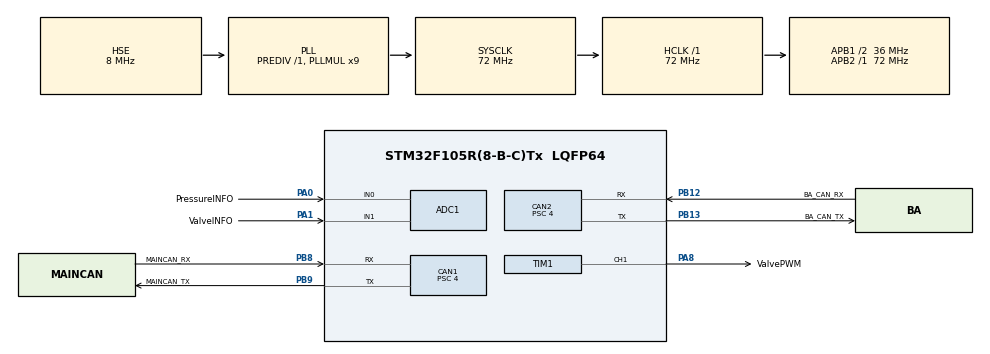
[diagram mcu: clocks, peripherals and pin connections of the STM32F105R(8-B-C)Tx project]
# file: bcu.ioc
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ADC1.Channel-0\#ChannelRegularConversion=ADC_CHANNEL_VREFINT
ADC1.Channel-1\#ChannelRegularConversion=ADC_CHANNEL_0
ADC1.Channel-2\#ChannelRegularConversion=ADC_CHANNEL_1
ADC1.ContinuousConvMode=ENABLE
ADC1.NbrOfConversion=3
ADC1.NbrOfConversionFlag=1
ADC1.Rank-0\#ChannelRegularConversion=1
ADC1.Rank-1\#ChannelRegularConversion=2
ADC1.Rank-2\#ChannelRegularConversion=3
ADC1.SamplingTime-0\#ChannelRegularConversion=ADC_SAMPLETIME_28CYCLES_5
ADC1.SamplingTime-1\#ChannelRegularConversion=ADC_SAMPLETIME_28CYCLES_5
ADC1.SamplingTime-2\#ChannelRegularConversion=ADC_SAMPLETIME_28CYCLES_5
ADC1.master=1
CAN1.ABOM=ENABLE
CAN1.AWUM=ENABLE
CAN1.BS1=CAN_BS1_15TQ
CAN1.BS2=CAN_BS2_2TQ
CAN1.CalculateBaudRate=500000
CAN1.CalculateTimeBit=1999.99
CAN1.CalculateTimeQuantum=111.11111111111111
CAN1.NART=DISABLE
CAN1.Prescaler=4
CAN2.ABOM=ENABLE
CAN2.AWUM=ENABLE
CAN2.BS1=CAN_BS1_15TQ
CAN2.BS2=CAN_BS2_2TQ
CAN2.CalculateBaudRate=500000
CAN2.CalculateTimeBit=1999.99
CAN2.CalculateTimeQuantum=111.11111111111111
CAN2.NART=DISABLE
CAN2.Prescaler=4
Dma.ADC1.0.Direction=DMA_PERIPH_TO_MEMORY
Dma.ADC1.0.Instance=DMA1_Channel1
Dma.ADC1.0.MemDataAlignment=DMA_MDATAALIGN_WORD
Dma.ADC1.0.MemInc=DMA_MINC_ENABLE
Dma.ADC1.0.Mode=DMA_CIRCULAR
Dma.ADC1.0.PeriphDataAlignment=DMA_PDATAALIGN_WORD
Dma.ADC1.0.PeriphInc=DMA_PINC_DISABLE
Dma.ADC1.0.Priority=DMA_PRIORITY_LOW
Dma.Request0=ADC1
Dma.Request1=TIM1_CH1
Dma.TIM1_CH1.1.Direction=DMA_PERIPH_TO_MEMORY
Dma.TIM1_CH1.1.Instance=DMA1_Channel2
Dma.TIM1_CH1.1.MemDataAlignment=DMA_MDATAALIGN_HALFWORD
Dma.TIM1_CH1.1.MemInc=DMA_MINC_ENABLE
Dma.TIM1_CH1.1.Mode=DMA_CIRCULAR
Dma.TIM1_CH1.1.PeriphDataAlignment=DMA_PDATAALIGN_HALFWORD
Dma.TIM1_CH1.1.PeriphInc=DMA_PINC_DISABLE
Dma.TIM1_CH1.1.Priority=DMA_PRIORITY_LOW
Mcu.Family=STM32F1
Mcu.Name=STM32F105R(8-B-C)Tx
Mcu.Package=LQFP64
NVIC.CAN1_RX0_IRQn=true\:0\:0\:false\:false\:true\:true\:true
NVIC.CAN1_TX_IRQn=true\:0\:0\:false\:false\:true\:true\:true
NVIC.CAN2_RX0_IRQn=true\:0\:0\:false\:false\:true\:true\:true
NVIC.CAN2_TX_IRQn=true\:0\:0\:false\:false\:true\:true\:true
NVIC.DMA1_Channel1_IRQn=true\:0\:0\:false\:false\:true\:false\:true
NVIC.DMA1_Channel2_IRQn=true\:0\:0\:false\:false\:true\:false\:true
NVIC.PriorityGroup=NVIC_PRIORITYGROUP_4
NVIC.TIM1_UP_IRQn=true\:0\:0\:false\:false\:true\:true\:true
NVIC.TIM2_IRQn=true\:0\:0\:false\:false\:true\:true\:true
PA0-WKUP.GPIO_Label=PressureINFO
PA0-WKUP.Signal=ADCx_IN0
PA1.GPIO_Label=ValveINFO
PA1.Signal=ADCx_IN1
PA13.Mode=Serial_Wire
PA13.Signal=SYS_JTMS-SWDIO
PA14.Mode=Serial_Wire
PA14.Signal=SYS_JTCK-SWCLK
PA8.GPIO_Label=ValvePWM
PA8.GPIO_Speed=GPIO_SPEED_FREQ_HIGH
PA8.Signal=S_TIM1_CH1
PB12.GPIO_Label=BA_CAN_RX
PB12.Mode=CAN_Activate
PB12.Signal=CAN2_RX
PB13.GPIO_Label=BA_CAN_TX
PB13.Mode=CAN_Activate
PB13.Signal=CAN2_TX
PB8.GPIO_Label=MAINCAN_RX
PB8.Mode=CAN_Activate
PB8.Signal=CAN1_RX
PB9.GPIO_Label=MAINCAN_TX
PB9.Mode=CAN_Activate
PB9.Signal=CAN1_TX
PD0-OSC_IN.Mode=HSE-External-Oscillator
PD0-OSC_IN.Signal=RCC_OSC_IN
PD1-OSC_OUT.Mode=HSE-External-Oscillator
PD1-OSC_OUT.Signal=RCC_OSC_OUT
ProjectManager.HeapSize=0x200
ProjectManager.StackSize=0x400
ProjectManager.TargetToolchain=MDK-ARM V5
RCC.ADCPresc=RCC_ADCPCLK2_DIV6
RCC.AHBFreq_Value=72000000
RCC.APB1CLKDivider=RCC_HCLK_DIV2
RCC.APB1Freq_Value=36000000
RCC.APB1TimFreq_Value=72000000
RCC.APB2Freq_Value=72000000
RCC.APB2TimFreq_Value=72000000
RCC.HCLKFreq_Value=72000000
RCC.PLLMUL=RCC_PLL_MUL9
RCC.PLLSourceVirtual=RCC_PLLSOURCE_HSE
RCC.SYSCLKFreq_VALUE=72000000
RCC.SYSCLKSource=RCC_SYSCLKSOURCE_PLLCLK
RCC.USBFreq_Value=48000000
SH.ADCx_IN0.0=ADC1_IN0,IN0
SH.ADCx_IN1.0=ADC1_IN1,IN1
SH.S_TIM1_CH1.0=TIM1_CH1,PWM Generation1 CH1
TIM1.Channel-PWM\ Generation1\ CH1=TIM_CHANNEL_1
TIM1.Period=1000
TIM1.Prescaler=100
TIM2.Period=9000
TIM2.Prescaler=79
VP_ADC1_Vref_Input.Mode=IN-Vrefint
VP_TIM1_VS_ClockSourceINT.Mode=Internal
VP_TIM2_VS_ClockSourceINT.Mode=Internal
board=custom

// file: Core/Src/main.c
/* USER CODE BEGIN Header */
/**
  ******************************************************************************
  * @file           : main.c
  * @brief          : Main program body
  ******************************************************************************
  * @attention
  *
  * <h2><center>&copy; Copyright (c) 2022 STMicroelectronics.
  * All rights reserved.</center></h2>
  *
  * This software component is licensed by ST under BSD 3-Clause license,
  * the "License"; You may not use this file except in compliance with the
  * License. You may obtain a copy of the License at:
  *                        opensource.org/licenses/BSD-3-Clause
  *
  ******************************************************************************
  */
/* USER CODE END Header */
#include "main.h"

/* USER CODE BEGIN Includes */
#include "pressures.h"
#include "math.h"
/* USER CODE END Includes */

ADC_HandleTypeDef hadc1;
DMA_HandleTypeDef hdma_adc1;

CAN_HandleTypeDef hcan1;
CAN_HandleTypeDef hcan2;

TIM_HandleTypeDef htim1;
TIM_HandleTypeDef htim2;
DMA_HandleTypeDef hdma_tim1_ch1;

/* USER CODE BEGIN PV */
uint32_t ADC[MEASURING_NUMBER_ALL_CHANNELS]={0};//buffer for reading battery voltage

float mcuVoltage = 3.3; // STM32 power supply voltage
float PressureINFO_Volts = 0; // Signal from Pressure sensor in Volts (0-5V)
float PressureINFO_Bars = 0; // Actual pressure in braking system

uint16_t ValveDutyCycle[1] = {0,}; // PWM duty cycle for Valve setpoint value
float SetPoint = 0; // Setpoint value for Valve in Bars (0-6 Bar)
float SetPoint_Volts = 0; // Setpoint value for Valve in Volts (0-10 Volts)

float NeededBrakePressure = 0.5; // Needed pressure in braking system
float ActualPoint = 0; // Actual value in Valve in Volts (0-5V)
float ActualPoint_Bars = 0;// Actual value in Valve in Bars (0-6 Bar)
uint8_t Counter_for_PID = 0;

uint16_t u16PressureINFO_BarsBuf = 0; // Actual pressure in braking system U32 (BCU sends this value by CAN)
uint16_t NeededBrakePressureBuf = 0; 	// Needed pressure in braking system received by CAN
//float PressureINFO_BarsDebug = 0; 	// Actual pressure in braking system for Debug
/*********FSG_TEST*************/ // Comment it in final project
uint16_t Pressurescounter = 0;
uint8_t Circle = 0;

/*****************CAN******************/

CAN_TxHeaderTypeDef pTxHeaderBreakPressure;
CAN_TxHeaderTypeDef pTxHeaderError;
CAN_RxHeaderTypeDef pRxHeaderBreakPressure;
uint32_t TxMailbox;
uint32_t TxMailboxError;
uint8_t i = 0;
uint8_t recieve = 0;
uint8_t xBreakPressureTX_data[2], xBreakPressureRX_data[2]; //Buffers for BA_CAN for pressure setting
uint8_t xPressureStatus[1] = {0};
CAN_FilterTypeDef sFilterConfig;

/**************************************/

/*****************PID******************/
float Kp_PID = 0.06; // Proportional coefficient for PID
float Ki_PID = 0.05; // Integral coefficient for PID
float Kd_PID = 0.005; // Differencial coefficient for PID
float errorPrevious_PID = 0;
float errorCurrent_PID = 0;
float errorIntegral_PID = 0;
float errorDifferential_PID = 0;
// PID Calibration

struct PID_calib PressureINFO_Bars_PID_calib = {0,};

/**************************************/

/* USER CODE END PV */

void SystemClock_Config(void);
static void MX_GPIO_Init(void);
static void MX_DMA_Init(void);
static void MX_ADC1_Init(void);
static void MX_TIM1_Init(void);
static void MX_CAN1_Init(void);
static void MX_CAN2_Init(void);
static void MX_TIM2_Init(void);

int main(void)
{
  /* USER CODE BEGIN 1 */
//	uint16_t i = 0;
//  TX_data[0] = 124;
//	PressureINFO_BarsDebug = 10.5;
	uint32_t u32LastTick = 0U;
	uint32_t u32CurrentTick = 0U;
  /* USER CODE END 1 */

  /* MCU Configuration--------------------------------------------------------*/

  /* Reset of all peripherals, Initializes the Flash interface and the Systick. */
  HAL_Init();

  /* Configure the system clock */
  SystemClock_Config();

  /* Initialize all configured peripherals */
  MX_GPIO_Init();
  MX_DMA_Init();
  MX_ADC1_Init();
  MX_TIM1_Init();
  MX_CAN1_Init();
  MX_CAN2_Init();
  MX_TIM2_Init();
  /* USER CODE BEGIN 2 */
	HAL_ADCEx_Calibration_Start(&hadc1);
	HAL_ADC_Start_DMA ( &hadc1,  (uint32_t*)ADC, MEASURING_NUMBER_ALL_CHANNELS);
	HAL_TIM_PWM_Start_DMA(&htim1, TIM_CHANNEL_1, (uint32_t*)ValveDutyCycle, 1);
	HAL_TIM_Base_Start_IT(&htim1);
	HAL_TIM_Base_Start_IT(&htim2);
	u32LastTick = HAL_GetTick();
	u32CurrentTick = u32LastTick;
  /* USER CODE END 2 */

  /* Infinite loop */
   while (1)
  {

    /* USER CODE BEGIN 3 */

		NeededBrakePressureBuf = 0;
		for (i=0;	i<2; i++) // 2 - since BCU receives 2 bytes
		{
			NeededBrakePressureBuf|= (uint32_t) (xBreakPressureRX_data[i]<<(8*(2-1-i)));
		}
		/*If value is ok*/
		if (isnan(NeededBrakePressureBuf) != 1)
		{
			/*set this value in break system*/
			NeededBrakePressure = (float)NeededBrakePressureBuf/floatBREAK_PRESSURE_DIVIDER;
		}
		u32CurrentTick = HAL_GetTick();
		if ( ( u32CurrentTick - u32LastTick ) > u32MAX_TICKS_ERROR )
		{
			u32LastTick = HAL_GetTick();
			if ( ( ( fabs(NeededBrakePressure - PressureINFO_Bars) > floatBREAK_PRESSURE_DISCREPANCY	) &&
					 ( ( xPressureStatus[0] & BREAK_ERROR ) != 0 ) ) ||
					 ( ( fabs(SetPoint - ActualPoint_Bars) > floatVALVE_PRESSURE_DISCREPANCY	) &&
					 ( ( xPressureStatus[0] & VALVE_ERROR ) != 0 ) )
				 )
			{
				HAL_CAN_AddTxMessage(&hcan1, &pTxHeaderError, xPressureStatus, &TxMailboxError);
				if ( ( xPressureStatus[0]  & BREAK_ERROR ) != 0 )
				{
					xPressureStatus[0] &= ~BREAK_ERROR;
				}
				if ( ( xPressureStatus[0]  & VALVE_ERROR ) != 0 )
				{
					xPressureStatus[0] &= ~VALVE_ERROR;
				}
			}
			if ( (fabs(NeededBrakePressure - PressureINFO_Bars) > floatBREAK_PRESSURE_DISCREPANCY) &&
					 ( ( xPressureStatus[0] & BREAK_ERROR ) == 0 )
				 )
			{
				xPressureStatus[0] |= BREAK_ERROR;
			}
			else if ( fabs(NeededBrakePressure - PressureINFO_Bars) < floatBREAK_PRESSURE_DISCREPANCY )
			{
				xPressureStatus[0] &= ~BREAK_ERROR;
			}

			if ( (fabs(SetPoint - ActualPoint_Bars) > floatVALVE_PRESSURE_DISCREPANCY) &&
					 ( ( xPressureStatus[0] & VALVE_ERROR ) == 0 )
				 )
			{
				xPressureStatus[0] |= VALVE_ERROR;
			}
			else if ( fabs(SetPoint - ActualPoint_Bars) < floatVALVE_PRESSURE_DISCREPANCY )
			{
				xPressureStatus[0] &= ~VALVE_ERROR;
			}
		}

  }
  /* USER CODE END 3 */
}

void SystemClock_Config(void)
{
  RCC_OscInitTypeDef RCC_OscInitStruct = {0};
  RCC_ClkInitTypeDef RCC_ClkInitStruct = {0};
  RCC_PeriphCLKInitTypeDef PeriphClkInit = {0};

  /** Initializes the RCC Oscillators according to the specified parameters
  * in the RCC_OscInitTypeDef structure.
  */
  RCC_OscInitStruct.OscillatorType = RCC_OSCILLATORTYPE_HSE;
  RCC_OscInitStruct.HSEState = RCC_HSE_ON;
  RCC_OscInitStruct.HSEPredivValue = RCC_HSE_PREDIV_DIV1;
  RCC_OscInitStruct.HSIState = RCC_HSI_ON;
  RCC_OscInitStruct.Prediv1Source = RCC_PREDIV1_SOURCE_HSE;
  RCC_OscInitStruct.PLL.PLLState = RCC_PLL_ON;
  RCC_OscInitStruct.PLL.PLLSource = RCC_PLLSOURCE_HSE;
  RCC_OscInitStruct.PLL.PLLMUL = RCC_PLL_MUL9;
  RCC_OscInitStruct.PLL2.PLL2State = RCC_PLL_NONE;
  if (HAL_RCC_OscConfig(&RCC_OscInitStruct) != HAL_OK)
  {
    Error_Handler();
  }
  /** Initializes the CPU, AHB and APB buses clocks
  */
  RCC_ClkInitStruct.ClockType = RCC_CLOCKTYPE_HCLK|RCC_CLOCKTYPE_SYSCLK
                              |RCC_CLOCKTYPE_PCLK1|RCC_CLOCKTYPE_PCLK2;
  RCC_ClkInitStruct.SYSCLKSource = RCC_SYSCLKSOURCE_PLLCLK;
  RCC_ClkInitStruct.AHBCLKDivider = RCC_SYSCLK_DIV1;
  RCC_ClkInitStruct.APB1CLKDivider = RCC_HCLK_DIV2;
  RCC_ClkInitStruct.APB2CLKDivider = RCC_HCLK_DIV1;

  if (HAL_RCC_ClockConfig(&RCC_ClkInitStruct, FLASH_LATENCY_2) != HAL_OK)
  {
    Error_Handler();
  }
  PeriphClkInit.PeriphClockSelection = RCC_PERIPHCLK_ADC;
  PeriphClkInit.AdcClockSelection = RCC_ADCPCLK2_DIV6;
  if (HAL_RCCEx_PeriphCLKConfig(&PeriphClkInit) != HAL_OK)
  {
    Error_Handler();
  }
  /** Configure the Systick interrupt time
  */
  __HAL_RCC_PLLI2S_ENABLE();
}

static void MX_ADC1_Init(void)
{

  ADC_ChannelConfTypeDef sConfig = {0};

  /** Common config
  */
  hadc1.Instance = ADC1;
  hadc1.Init.ScanConvMode = ADC_SCAN_ENABLE;
  hadc1.Init.ContinuousConvMode = ENABLE;
  hadc1.Init.DiscontinuousConvMode = DISABLE;
  hadc1.Init.ExternalTrigConv = ADC_SOFTWARE_START;
  hadc1.Init.DataAlign = ADC_DATAALIGN_RIGHT;
  hadc1.Init.NbrOfConversion = 3;
  if (HAL_ADC_Init(&hadc1) != HAL_OK)
  {
    Error_Handler();
  }
  /** Configure Regular Channel
  */
  sConfig.Channel = ADC_CHANNEL_VREFINT;
  sConfig.Rank = ADC_REGULAR_RANK_1;
  sConfig.SamplingTime = ADC_SAMPLETIME_28CYCLES_5;
  if (HAL_ADC_ConfigChannel(&hadc1, &sConfig) != HAL_OK)
  {
    Error_Handler();
  }
  /** Configure Regular Channel
  */
  sConfig.Channel = ADC_CHANNEL_0;
  sConfig.Rank = ADC_REGULAR_RANK_2;
  if (HAL_ADC_ConfigChannel(&hadc1, &sConfig) != HAL_OK)
  {
    Error_Handler();
  }
  /** Configure Regular Channel
  */
  sConfig.Channel = ADC_CHANNEL_1;
  sConfig.Rank = ADC_REGULAR_RANK_3;
  if (HAL_ADC_ConfigChannel(&hadc1, &sConfig) != HAL_OK)
  {
    Error_Handler();
  }

}

static void MX_CAN1_Init(void)
{

  hcan1.Instance = CAN1;
  hcan1.Init.Prescaler = 4;
  hcan1.Init.Mode = CAN_MODE_NORMAL;
  hcan1.Init.SyncJumpWidth = CAN_SJW_1TQ;
  hcan1.Init.TimeSeg1 = CAN_BS1_15TQ;
  hcan1.Init.TimeSeg2 = CAN_BS2_2TQ;
  hcan1.Init.TimeTriggeredMode = DISABLE;
  hcan1.Init.AutoBusOff = ENABLE;
  hcan1.Init.AutoWakeUp = ENABLE;
  hcan1.Init.AutoRetransmission = DISABLE;
  hcan1.Init.ReceiveFifoLocked = DISABLE;
  hcan1.Init.TransmitFifoPriority = DISABLE;
  if (HAL_CAN_Init(&hcan1) != HAL_OK)
  {
    Error_Handler();
  }
  /* USER CODE BEGIN CAN1_Init 2 */
	pTxHeaderError.DLC = 1;
	pTxHeaderError.IDE = CAN_ID_STD;
	pTxHeaderError.RTR = CAN_RTR_DATA;
	pTxHeaderError.StdId = 0x0751;
	pTxHeaderError.TransmitGlobalTime = DISABLE;

	sFilterConfig.FilterBank = 0;
	sFilterConfig.FilterMode = CAN_FILTERMODE_IDLIST;
	sFilterConfig.FilterFIFOAssignment = CAN_RX_FIFO0;
	sFilterConfig.SlaveStartFilterBank = 0;
	sFilterConfig.FilterIdHigh = 0x0521<<5;
	sFilterConfig.FilterIdLow = 0x0521<<5;
	sFilterConfig.FilterMaskIdHigh = 0x0521<<5;
	sFilterConfig.FilterMaskIdLow = 0x0521<<5;
	sFilterConfig.FilterScale = CAN_FILTERSCALE_16BIT;
	sFilterConfig.FilterActivation = ENABLE;

	if (HAL_CAN_ConfigFilter(&hcan1, &sFilterConfig)!= HAL_OK)
    {
      // Filter configuration Error
      Error_Handler();
    }

	if(HAL_CAN_Start(&hcan1)!= HAL_OK)
	{
      //Start Error
		Error_Handler();
    }
  /* Activate CAN RX notification */
	if (HAL_CAN_ActivateNotification(&hcan1, CAN_IT_RX_FIFO0_MSG_PENDING | CAN_IT_TX_MAILBOX_EMPTY) != HAL_OK)
	{
     /* Notification Error */
		Error_Handler();
	}
  /* USER CODE END CAN1_Init 2 */

}

static void MX_CAN2_Init(void)
{

  hcan2.Instance = CAN2;
  hcan2.Init.Prescaler = 4;
  hcan2.Init.Mode = CAN_MODE_NORMAL;
  hcan2.Init.SyncJumpWidth = CAN_SJW_1TQ;
  hcan2.Init.TimeSeg1 = CAN_BS1_15TQ;
  hcan2.Init.TimeSeg2 = CAN_BS2_2TQ;
  hcan2.Init.TimeTriggeredMode = DISABLE;
  hcan2.Init.AutoBusOff = ENABLE;
  hcan2.Init.AutoWakeUp = ENABLE;
  hcan2.Init.AutoRetransmission = DISABLE;
  hcan2.Init.ReceiveFifoLocked = DISABLE;
  hcan2.Init.TransmitFifoPriority = DISABLE;
  if (HAL_CAN_Init(&hcan2) != HAL_OK)
  {
    Error_Handler();
  }
  /* USER CODE BEGIN CAN2_Init 2 */

	pTxHeaderBreakPressure.DLC = 2;
	pTxHeaderBreakPressure.IDE = CAN_ID_STD;
	pTxHeaderBreakPressure.RTR = CAN_RTR_DATA;
	pTxHeaderBreakPressure.StdId = 0x0750;
	pTxHeaderBreakPressure.TransmitGlobalTime = DISABLE;

	sFilterConfig.FilterBank = 0;
	sFilterConfig.FilterMode = CAN_FILTERMODE_IDLIST;
	sFilterConfig.FilterFIFOAssignment = CAN_RX_FIFO0;
	sFilterConfig.SlaveStartFilterBank = 0;
	sFilterConfig.FilterIdHigh = 0x0521<<5;
	sFilterConfig.FilterIdLow = 0x0521<<5;
	sFilterConfig.FilterMaskIdHigh = 0x0521<<5;
	sFilterConfig.FilterMaskIdLow = 0x0521<<5;
	sFilterConfig.FilterScale = CAN_FILTERSCALE_16BIT;
	sFilterConfig.FilterActivation = ENABLE;

	if (HAL_CAN_ConfigFilter(&hcan2, &sFilterConfig)!= HAL_OK)
    {
      // Filter configuration Error
      Error_Handler();
    }

	if(HAL_CAN_Start(&hcan2)!= HAL_OK)
	{
      //Start Error
		Error_Handler();
    }
  /* Activate CAN RX notification */
	if (HAL_CAN_ActivateNotification(&hcan2, CAN_IT_RX_FIFO0_MSG_PENDING | CAN_IT_TX_MAILBOX_EMPTY) != HAL_OK)
	{
     /* Notification Error */
		Error_Handler();
	}
  /* USER CODE END CAN2_Init 2 */

}

static void MX_TIM1_Init(void)
{

  TIM_ClockConfigTypeDef sClockSourceConfig = {0};
  TIM_MasterConfigTypeDef sMasterConfig = {0};
  TIM_OC_InitTypeDef sConfigOC = {0};
  TIM_BreakDeadTimeConfigTypeDef sBreakDeadTimeConfig = {0};

  htim1.Instance = TIM1;
  htim1.Init.Prescaler = 100;
  htim1.Init.CounterMode = TIM_COUNTERMODE_UP;
  htim1.Init.Period = 1000;
  htim1.Init.ClockDivision = TIM_CLOCKDIVISION_DIV1;
  htim1.Init.RepetitionCounter = 0;
  htim1.Init.AutoReloadPreload = TIM_AUTORELOAD_PRELOAD_DISABLE;
  if (HAL_TIM_Base_Init(&htim1) != HAL_OK)
  {
    Error_Handler();
  }
  sClockSourceConfig.ClockSource = TIM_CLOCKSOURCE_INTERNAL;
  if (HAL_TIM_ConfigClockSource(&htim1, &sClockSourceConfig) != HAL_OK)
  {
    Error_Handler();
  }
  if (HAL_TIM_PWM_Init(&htim1) != HAL_OK)
  {
    Error_Handler();
  }
  sMasterConfig.MasterOutputTrigger = TIM_TRGO_RESET;
  sMasterConfig.MasterSlaveMode = TIM_MASTERSLAVEMODE_DISABLE;
  if (HAL_TIMEx_MasterConfigSynchronization(&htim1, &sMasterConfig) != HAL_OK)
  {
    Error_Handler();
  }
  sConfigOC.OCMode = TIM_OCMODE_PWM1;
  sConfigOC.Pulse = 0;
  sConfigOC.OCPolarity = TIM_OCPOLARITY_HIGH;
  sConfigOC.OCNPolarity = TIM_OCNPOLARITY_HIGH;
  sConfigOC.OCFastMode = TIM_OCFAST_DISABLE;
  sConfigOC.OCIdleState = TIM_OCIDLESTATE_RESET;
  sConfigOC.OCNIdleState = TIM_OCNIDLESTATE_RESET;
  if (HAL_TIM_PWM_ConfigChannel(&htim1, &sConfigOC, TIM_CHANNEL_1) != HAL_OK)
  {
    Error_Handler();
  }
  sBreakDeadTimeConfig.OffStateRunMode = TIM_OSSR_DISABLE;
  sBreakDeadTimeConfig.OffStateIDLEMode = TIM_OSSI_DISABLE;
  sBreakDeadTimeConfig.LockLevel = TIM_LOCKLEVEL_OFF;
  sBreakDeadTimeConfig.DeadTime = 0;
  sBreakDeadTimeConfig.BreakState = TIM_BREAK_DISABLE;
  sBreakDeadTimeConfig.BreakPolarity = TIM_BREAKPOLARITY_HIGH;
  sBreakDeadTimeConfig.AutomaticOutput = TIM_AUTOMATICOUTPUT_DISABLE;
  if (HAL_TIMEx_ConfigBreakDeadTime(&htim1, &sBreakDeadTimeConfig) != HAL_OK)
  {
    Error_Handler();
  }
  HAL_TIM_MspPostInit(&htim1);

}

static void MX_TIM2_Init(void)
{

  TIM_ClockConfigTypeDef sClockSourceConfig = {0};
  TIM_MasterConfigTypeDef sMasterConfig = {0};

  htim2.Instance = TIM2;
  htim2.Init.Prescaler = 79;
  htim2.Init.CounterMode = TIM_COUNTERMODE_UP;
  htim2.Init.Period = 9000;
  htim2.Init.ClockDivision = TIM_CLOCKDIVISION_DIV1;
  htim2.Init.AutoReloadPreload = TIM_AUTORELOAD_PRELOAD_DISABLE;
  if (HAL_TIM_Base_Init(&htim2) != HAL_OK)
  {
    Error_Handler();
  }
  sClockSourceConfig.ClockSource = TIM_CLOCKSOURCE_INTERNAL;
  if (HAL_TIM_ConfigClockSource(&htim2, &sClockSourceConfig) != HAL_OK)
  {
    Error_Handler();
  }
  sMasterConfig.MasterOutputTrigger = TIM_TRGO_RESET;
  sMasterConfig.MasterSlaveMode = TIM_MASTERSLAVEMODE_DISABLE;
  if (HAL_TIMEx_MasterConfigSynchronization(&htim2, &sMasterConfig) != HAL_OK)
  {
    Error_Handler();
  }

}

static void MX_DMA_Init(void)
{

  /* DMA controller clock enable */
  __HAL_RCC_DMA1_CLK_ENABLE();

  /* DMA interrupt init */
  /* DMA1_Channel1_IRQn interrupt configuration */
  HAL_NVIC_SetPriority(DMA1_Channel1_IRQn, 0, 0);
  HAL_NVIC_EnableIRQ(DMA1_Channel1_IRQn);
  /* DMA1_Channel2_IRQn interrupt configuration */
  HAL_NVIC_SetPriority(DMA1_Channel2_IRQn, 0, 0);
  HAL_NVIC_EnableIRQ(DMA1_Channel2_IRQn);

}

static void MX_GPIO_Init(void)
{

  /* GPIO Ports Clock Enable */
  __HAL_RCC_GPIOD_CLK_ENABLE();
  __HAL_RCC_GPIOA_CLK_ENABLE();
  __HAL_RCC_GPIOB_CLK_ENABLE();

}

/* USER CODE BEGIN 4 */
void HAL_CAN_RxFifo0MsgPendingCallback(CAN_HandleTypeDef *hcan){
	HAL_CAN_GetRxMessage(hcan, CAN_RX_FIFO0, &pRxHeaderBreakPressure, xBreakPressureRX_data);
}
void HAL_CAN_TxMailbox0CompleteCallback(CAN_HandleTypeDef*hcan) {
//	HAL_GPIO_TogglePin(GPIOC, Led_Pin);
}
/* USER CODE END 4 */

void Error_Handler(void)
{
  __disable_irq();
  while (1)
  {
  }
}

/************************ (C) COPYRIGHT STMicroelectronics *****END OF FILE****/
